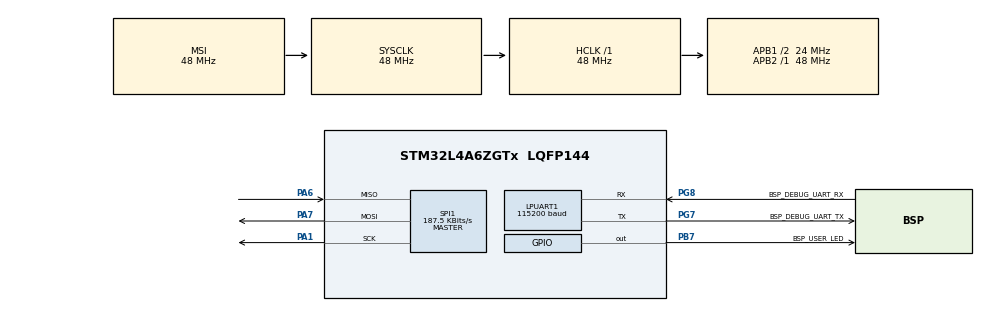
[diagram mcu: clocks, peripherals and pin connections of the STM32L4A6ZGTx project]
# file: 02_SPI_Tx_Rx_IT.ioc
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LPUART1.BaudRate=115200
LPUART1.WordLength=UART_WORDLENGTH_8B
Mcu.Family=STM32L4
Mcu.Name=STM32L4A6ZGTx
Mcu.Package=LQFP144
NVIC.LPUART1_IRQn=true\:0\:0\:false\:false\:true\:true\:true\:true
NVIC.PriorityGroup=NVIC_PRIORITYGROUP_4
NVIC.SPI1_IRQn=true\:0\:0\:true\:false\:true\:true\:true\:true
PA1.Mode=Full_Duplex_Master
PA1.Signal=SPI1_SCK
PA6.Mode=Full_Duplex_Master
PA6.Signal=SPI1_MISO
PA7.Mode=Full_Duplex_Master
PA7.Signal=SPI1_MOSI
PB7.GPIO_Label=BSP_USER_LED
PB7.Signal=GPIO_Output
PG7.GPIO_Label=BSP_DEBUG_UART_TX
PG7.Mode=Asynchronous
PG7.Signal=LPUART1_TX
PG8.GPIO_Label=BSP_DEBUG_UART_RX
PG8.Mode=Asynchronous
PG8.Signal=LPUART1_RX
ProjectManager.HeapSize=0x200
ProjectManager.StackSize=0x400
ProjectManager.TargetToolchain=STM32CubeIDE
RCC.ADCFreq_Value=192000000
RCC.AHBFreq_Value=48000000
RCC.APB1CLKDivider=RCC_HCLK_DIV2
RCC.APB1Freq_Value=24000000
RCC.APB1TimFreq_Value=48000000
RCC.APB2Freq_Value=48000000
RCC.APB2TimFreq_Value=48000000
RCC.CortexFreq_Value=48000000
RCC.HCLKFreq_Value=48000000
RCC.HSE_VALUE=8000000
RCC.HSI48_VALUE=48000000
RCC.HSI_VALUE=16000000
RCC.LSE_VALUE=32768
RCC.MSIClockRange=RCC_MSIRANGE_11
RCC.MSI_VALUE=48000000
RCC.SYSCLKFreq_VALUE=48000000
RCC.USBFreq_Value=192000000
RCC.VCOOutputFreq_Value=384000000
SPI1.BaudRatePrescaler=SPI_BAUDRATEPRESCALER_256
SPI1.CalculateBaudRate=187.5 KBits/s
SPI1.DataSize=SPI_DATASIZE_8BIT
SPI1.Direction=SPI_DIRECTION_2LINES
SPI1.Mode=SPI_MODE_MASTER
SPI1.VirtualType=VM_MASTER
board=NUCLEO-L4A6ZG

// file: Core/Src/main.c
/* USER CODE BEGIN Header */
/**
  ******************************************************************************
  * @file           : main.c
  * @brief          : Main program body
  ******************************************************************************
  * @attention
  *
  * Copyright (c) 2024 STMicroelectronics.
  * All rights reserved.
  *
  * This software is licensed under terms that can be found in the LICENSE file
  * in the root directory of this software component.
  * If no LICENSE file comes with this software, it is provided AS-IS.
  *
  ******************************************************************************
  */
/* USER CODE END Header */
#include "main.h"

/* USER CODE BEGIN Includes */
#include "stdio.h"
#include "string.h"
/* USER CODE END Includes */

/* USER CODE BEGIN PM */
#define MAX_SIZE 100
#define NEWLINE_CHAR '\n'
#define RETURN_CHAR  '\r'
/* USER CODE END PM */

UART_HandleTypeDef hlpuart1;

SPI_HandleTypeDef hspi1;

/* USER CODE BEGIN PV */
//uint8_t buffer_tx[10] = {67,47,46,69,45,68,90,97,70,56};
uint8_t buffer_print[MAX_SIZE];
uint8_t uart_buffer[MAX_SIZE];
uint8_t rx_buffer[MAX_SIZE];
volatile uint8_t spi_cplt = 0;
volatile uint8_t uart_cplt = 0;

// Variable to track the number of received bytes
volatile uint16_t received_length = 0;
volatile uint16_t Index = 0;
/* USER CODE END PV */

void SystemClock_Config(void);
static void MX_GPIO_Init(void);
static void MX_LPUART1_UART_Init(void);
static void MX_SPI1_Init(void);
/* USER CODE BEGIN PFP */
void HAL_SPI_TxRxCpltCallback(SPI_HandleTypeDef *hspi);
void HAL_UART_RxCpltCallback(UART_HandleTypeDef *huart);
/* USER CODE END PFP */

int main(void)
{

  /* MCU Configuration--------------------------------------------------------*/

  /* Reset of all peripherals, Initializes the Flash interface and the Systick. */
  HAL_Init();

  /* Configure the system clock */
  SystemClock_Config();

  /* Initialize all configured peripherals */
  MX_GPIO_Init();
  MX_LPUART1_UART_Init();
  MX_SPI1_Init();
  /* USER CODE BEGIN 2 */

  HAL_UART_Receive_IT(&hlpuart1, rx_buffer, 1);

//  HAL_SPI_TransmitReceive_IT(&hspi1, buffer_rx, buffer_print, 10);

  /* USER CODE END 2 */

  /* Infinite loop */
  while (1)
  {

    /* USER CODE BEGIN 3 */

	  if(uart_cplt == 1)
	  {
		  /* transmit and received the data through spi in interrupt mode */
		  HAL_SPI_TransmitReceive_IT(&hspi1, uart_buffer, buffer_print, received_length);
		  uart_cplt = 0; //Clear flag for next uart send payload.
	  }

	  if(spi_cplt == 1)			//if spi tx-rx completes
	  {
		  /* continuous process */
		  HAL_GPIO_TogglePin(BSP_USER_LED_GPIO_Port, BSP_USER_LED_Pin);
		  spi_cplt = 0; //Clear flag for next spi tx-rx payload.
	  }

  }
  /* USER CODE END 3 */
}

void SystemClock_Config(void)
{
  RCC_OscInitTypeDef RCC_OscInitStruct = {0};
  RCC_ClkInitTypeDef RCC_ClkInitStruct = {0};

  /** Configure the main internal regulator output voltage
  */
  if (HAL_PWREx_ControlVoltageScaling(PWR_REGULATOR_VOLTAGE_SCALE1) != HAL_OK)
  {
    Error_Handler();
  }

  /** Initializes the RCC Oscillators according to the specified parameters
  * in the RCC_OscInitTypeDef structure.
  */
  RCC_OscInitStruct.OscillatorType = RCC_OSCILLATORTYPE_MSI;
  RCC_OscInitStruct.MSIState = RCC_MSI_ON;
  RCC_OscInitStruct.MSICalibrationValue = 0;
  RCC_OscInitStruct.MSIClockRange = RCC_MSIRANGE_11;
  RCC_OscInitStruct.PLL.PLLState = RCC_PLL_NONE;
  if (HAL_RCC_OscConfig(&RCC_OscInitStruct) != HAL_OK)
  {
    Error_Handler();
  }

  /** Initializes the CPU, AHB and APB buses clocks
  */
  RCC_ClkInitStruct.ClockType = RCC_CLOCKTYPE_HCLK|RCC_CLOCKTYPE_SYSCLK
                              |RCC_CLOCKTYPE_PCLK1|RCC_CLOCKTYPE_PCLK2;
  RCC_ClkInitStruct.SYSCLKSource = RCC_SYSCLKSOURCE_MSI;
  RCC_ClkInitStruct.AHBCLKDivider = RCC_SYSCLK_DIV1;
  RCC_ClkInitStruct.APB1CLKDivider = RCC_HCLK_DIV2;
  RCC_ClkInitStruct.APB2CLKDivider = RCC_HCLK_DIV1;

  if (HAL_RCC_ClockConfig(&RCC_ClkInitStruct, FLASH_LATENCY_2) != HAL_OK)
  {
    Error_Handler();
  }
}

static void MX_LPUART1_UART_Init(void)
{

  hlpuart1.Instance = LPUART1;
  hlpuart1.Init.BaudRate = 115200;
  hlpuart1.Init.WordLength = UART_WORDLENGTH_8B;
  hlpuart1.Init.StopBits = UART_STOPBITS_1;
  hlpuart1.Init.Parity = UART_PARITY_NONE;
  hlpuart1.Init.Mode = UART_MODE_TX_RX;
  hlpuart1.Init.HwFlowCtl = UART_HWCONTROL_NONE;
  hlpuart1.Init.OneBitSampling = UART_ONE_BIT_SAMPLE_DISABLE;
  hlpuart1.AdvancedInit.AdvFeatureInit = UART_ADVFEATURE_NO_INIT;
  if (HAL_UART_Init(&hlpuart1) != HAL_OK)
  {
    Error_Handler();
  }

}

static void MX_SPI1_Init(void)
{

  /* SPI1 parameter configuration*/
  hspi1.Instance = SPI1;
  hspi1.Init.Mode = SPI_MODE_MASTER;
  hspi1.Init.Direction = SPI_DIRECTION_2LINES;
  hspi1.Init.DataSize = SPI_DATASIZE_8BIT;
  hspi1.Init.CLKPolarity = SPI_POLARITY_LOW;
  hspi1.Init.CLKPhase = SPI_PHASE_1EDGE;
  hspi1.Init.NSS = SPI_NSS_SOFT;
  hspi1.Init.BaudRatePrescaler = SPI_BAUDRATEPRESCALER_256;
  hspi1.Init.FirstBit = SPI_FIRSTBIT_MSB;
  hspi1.Init.TIMode = SPI_TIMODE_DISABLE;
  hspi1.Init.CRCCalculation = SPI_CRCCALCULATION_DISABLE;
  hspi1.Init.CRCPolynomial = 7;
  hspi1.Init.CRCLength = SPI_CRC_LENGTH_DATASIZE;
  hspi1.Init.NSSPMode = SPI_NSS_PULSE_ENABLE;
  if (HAL_SPI_Init(&hspi1) != HAL_OK)
  {
    Error_Handler();
  }

}

static void MX_GPIO_Init(void)
{
  GPIO_InitTypeDef GPIO_InitStruct = {0};

  /* GPIO Ports Clock Enable */
  __HAL_RCC_GPIOA_CLK_ENABLE();
  __HAL_RCC_GPIOG_CLK_ENABLE();
  HAL_PWREx_EnableVddIO2();
  __HAL_RCC_GPIOB_CLK_ENABLE();

  /*Configure GPIO pin Output Level */
  HAL_GPIO_WritePin(BSP_USER_LED_GPIO_Port, BSP_USER_LED_Pin, GPIO_PIN_RESET);

  /*Configure GPIO pin : BSP_USER_LED_Pin */
  GPIO_InitStruct.Pin = BSP_USER_LED_Pin;
  GPIO_InitStruct.Mode = GPIO_MODE_OUTPUT_PP;
  GPIO_InitStruct.Pull = GPIO_NOPULL;
  GPIO_InitStruct.Speed = GPIO_SPEED_FREQ_LOW;
  HAL_GPIO_Init(BSP_USER_LED_GPIO_Port, &GPIO_InitStruct);

}

/* USER CODE BEGIN 4 */

void HAL_UART_RxCpltCallback(UART_HandleTypeDef *huart)
{
	/* start the reception of data in interrupt mode again */
	HAL_UART_Receive_IT(&hlpuart1, rx_buffer, 1);

	/* store the received data into buffer */
	if(rx_buffer[0]!= RETURN_CHAR && rx_buffer[0] != NEWLINE_CHAR)
	{
		uart_buffer[Index] = rx_buffer[0];
		Index++;							//increment length
	}
	/* enable the uart cplt flag if rx_buffer encounters a newline character */
	else if (rx_buffer[0] == NEWLINE_CHAR)
	{
		uart_cplt = 1;				//data reception complete
		received_length = Index;	//store length in another variable
		Index = 0;					//clear the length
	}
}

void HAL_SPI_TxRxCpltCallback(SPI_HandleTypeDef *hspi)
{
	/* print the received data on terminal */
	printf("%s\r\n", buffer_print);			//print the buffer
	spi_cplt = 1;							//enable the flag
	memset(buffer_print, 0, MAX_SIZE);		//clear buffer
}

/* USER CODE END 4 */

void Error_Handler(void)
{
  __disable_irq();
  while (1)
  {
  }
}
